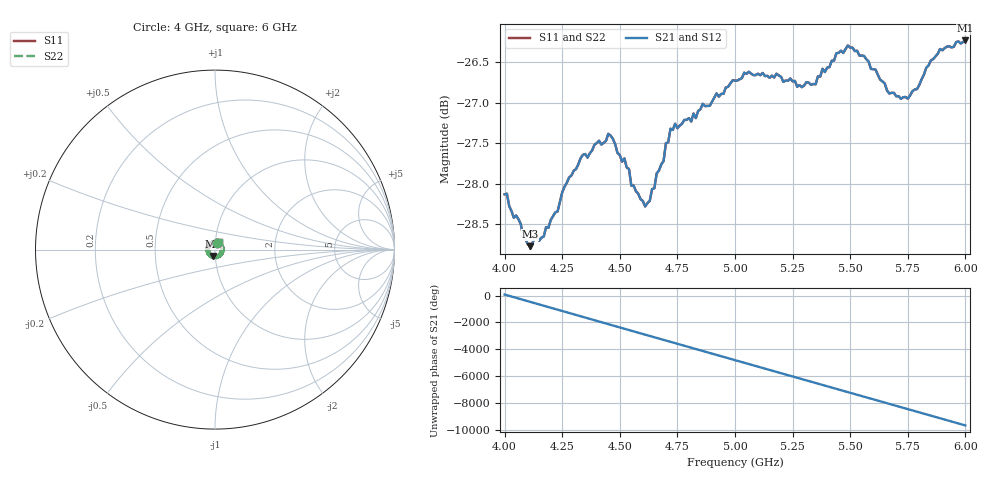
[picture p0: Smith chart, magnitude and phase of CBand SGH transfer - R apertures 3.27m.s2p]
!Keysight Technologies,N5227A,US51270384,A.10.49.03
!Date: Thursday, March 05, 2020 13:21:59
!Correction: S11(Response(S41))
!S41(Response(S41))
!S14(Response(S41))
!S44(Response(S41))
!S2P File: Measurements: S11, S41, S14, S44:
# Hz S  RI  R 50
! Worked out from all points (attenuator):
!   201 points, 4 GHz to 6 GHz, reference 50 ohm
!   highest |S21| = -26.23 dB at 6 GHz (marker M1); lowest = -28.8 dB at 4.11 GHz (marker M2)
!   lowest |S11| = -28.8 dB at 4.11 GHz (marker M3), VSWR 1.08, Z = 49 - j3.47 ohm
!   |S11| at or under -10 dB: start of sweep to end of sweep
!   |S22| runs from -28.8 to -26.2 dB; largest |S21 - S12| = 0
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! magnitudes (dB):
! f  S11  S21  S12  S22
! 4 GHz  -28.1  -28.1  -28.1  -28.1
! 4.11 GHz  -28.8  -28.8  -28.8  -28.8
! 4.17 GHz  -28.7  -28.7  -28.7  -28.7
! 4.34 GHz  -27.6  -27.6  -27.6  -27.6
! 4.46 GHz  -27.4  -27.4  -27.4  -27.4
! 4.54 GHz  -27.8  -27.8  -27.8  -27.8
! 4.55 GHz  -28.0  -28.0  -28.0  -28.0
! 4.61 GHz  -28.3  -28.3  -28.3  -28.3
! 4.67 GHz  -27.8  -27.8  -27.8  -27.8
! 4.69 GHz  -27.7  -27.7  -27.7  -27.7
! 4.72 GHz  -27.3  -27.3  -27.3  -27.3
! 4.83 GHz  -27.2  -27.2  -27.2  -27.2
! 4.86 GHz  -27.0  -27.0  -27.0  -27.0
! 5 GHz  -26.7  -26.7  -26.7  -26.7
! 5.06 GHz  -26.6  -26.6  -26.6  -26.6
! 5.34 GHz  -26.8  -26.8  -26.8  -26.8
! 5.49 GHz  -26.3  -26.3  -26.3  -26.3
! 5.56 GHz  -26.4  -26.4  -26.4  -26.4
! 5.67 GHz  -26.9  -26.9  -26.9  -26.9
! 5.75 GHz  -26.9  -26.9  -26.9  -26.9
! 5.89 GHz  -26.3  -26.3  -26.3  -26.3
! 6 GHz  -26.2  -26.2  -26.2  -26.2
